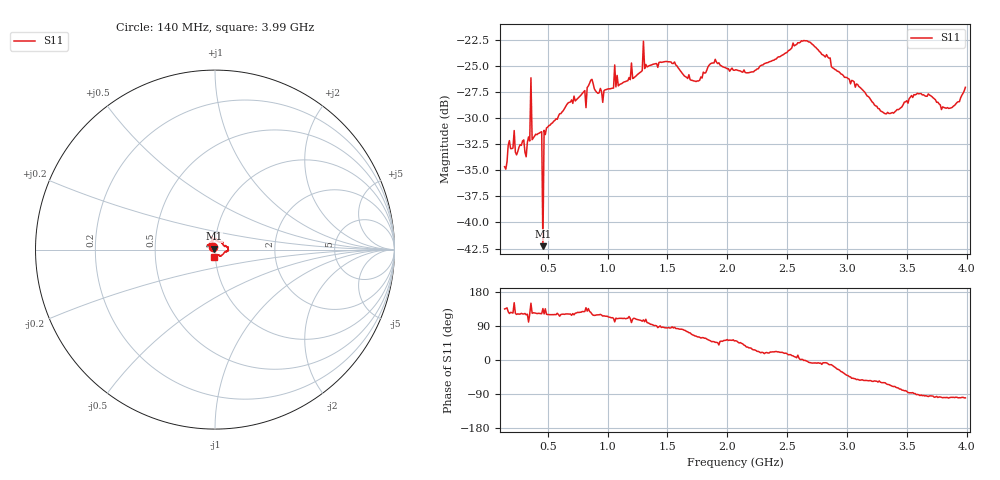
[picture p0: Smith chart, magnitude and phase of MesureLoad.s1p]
# MHz S MA R 50.0
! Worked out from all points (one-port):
!   386 points, 140 MHz to 3.99 GHz, reference 50 ohm
!   lowest |S11| = -42.3 dB at 460 MHz (marker M1), VSWR 1.02, Z = 49.4 + j0.532 ohm
!   |S11| at or under -10 dB: start of sweep to end of sweep
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140  0.01851 134.8
220  0.02761 151.2
240  0.02111 120.3
320  0.02066 119.3
350  0.02459 121.8
360  0.04945 149.8
370  0.02497 123.4
450  0.02725 122.3
460  0.007697 135.7
470  0.02768 121.5
630  0.03438 121.0
820  0.03556 138.0
870  0.04861 121.2
960  0.0377 115.8
1050  0.04415 109.9
1060  0.05699 100.5
1070  0.0447 110.4
1110  0.04619 110.0
1290  0.05356 102.4
1300  0.07408 105.9
1310  0.05475 101.0
1590  0.05523 82.6
2070  0.05403 50.8
2550  0.0726 10.9
3030  0.04626 -44.6
3320  0.03326 -60.2
3510  0.03733 -85.6
3990  0.04451 -99.9
